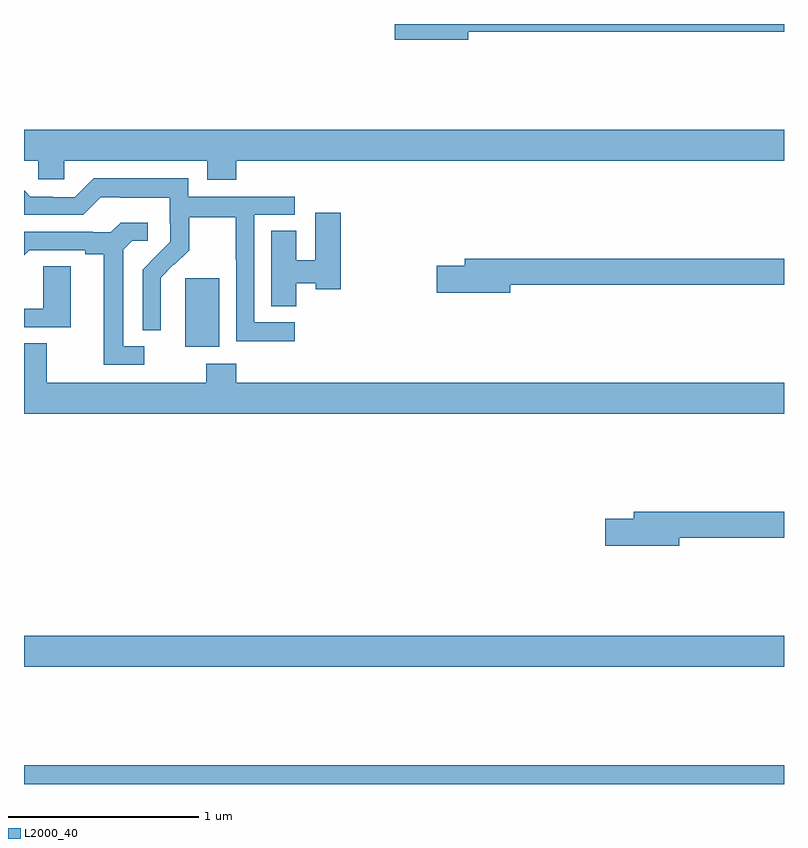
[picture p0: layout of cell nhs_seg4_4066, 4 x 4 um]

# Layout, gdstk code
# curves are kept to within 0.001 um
import gdstk
lib = gdstk.Library(unit=1e-6, precision=1e-09)
def R(c, l, rs):  # rectangles x0, y0, x1, y1
    for r in rs: c.add(gdstk.rectangle(r[:2], r[2:], *l))
def P(c, l, *ps):  # polygons
    for p in ps: c.add(gdstk.Polygon(p, *l))
L2000_40 = (2000, 40)

nhs_seg4_4066 = lib.new_cell('nhs_seg4_4066')
R(nhs_seg4_4066, L2000_40, [(327,766.9,331,767), (327,767.516,331,767.68), (327.848,769.202,328.027,769.563)])
P(nhs_seg4_4066, L2000_40, [(329.338,770.86),(331,770.86),(331,770.9),(328.95,770.9),(328.95,770.818),(329.338,770.818)],
  [(327,770.18),(327.075,770.18),(327.075,770.082),(327.213,770.082),(327.213,770.18),(327.965,770.18),(327.965,770.081),(328.118,770.081),(328.118,770.18),(331,770.18),(331,770.344),(327,770.344)],
  [(328.426,769.329),(328.212,769.329),(328.212,769.896),(328.426,769.896),(328.426,769.992),(327.864,769.992),(327.864,770.089),(327.367,770.089),(327.267,769.989),(327.152,769.989),(327.152,769.992),(327.033,769.992),(327,770.025),(327,769.896),(327.312,769.896),(327.405,769.989),(327.505,769.989),(327.505,769.985),(327.768,769.985),(327.768,769.851),(327.77,769.851),(327.77,769.754),(327.624,769.606),(327.624,769.288),(327.72,769.288),(327.719,769.565),(327.789,769.635),(327.792,769.632),(327.869,769.709),(327.869,769.884),(328.114,769.884),(328.114,769.66),(328.116,769.66),(328.116,769.231),(328.426,769.231)],
  [(328.432,769.535),(328.536,769.535),(328.536,769.505),(328.667,769.505),(328.667,769.906),(328.532,769.906),(328.532,769.657),(328.432,769.657),(328.432,769.811),(328.301,769.811),(328.301,769.414),(328.432,769.414)],
  [(327.634,769.203),(327.523,769.203),(327.523,769.711),(327.57,769.758),(327.652,769.758),(327.652,769.855),(327.508,769.855),(327.456,769.803),(327.362,769.803),(327.362,769.806),(327,769.806),(327,769.682),(327.028,769.71),(327.323,769.71),(327.323,769.688),(327.419,769.688),(327.419,769.107),(327.634,769.107)],
  [(329.56,769.528),(331,769.528),(331,769.664),(329.321,769.664),(329.321,769.628),(329.172,769.628),(329.172,769.486),(329.56,769.486)],
  [(327.247,769.625),(327.102,769.625),(327.102,769.401),(327,769.401),(327,769.305),(327.247,769.305)],
  [(331,769.012),(328.118,769.012),(328.118,769.111),(327.958,769.111),(327.958,769.012),(327.121,769.012),(327.121,769.22),(327,769.22),(327,768.848),(331,768.848)],
  [(330.448,768.196),(331,768.196),(331,768.332),(330.209,768.332),(330.209,768.296),(330.06,768.296),(330.06,768.154),(330.448,768.154)])

lib.write_gds('nhs_seg4_4066.gds')
